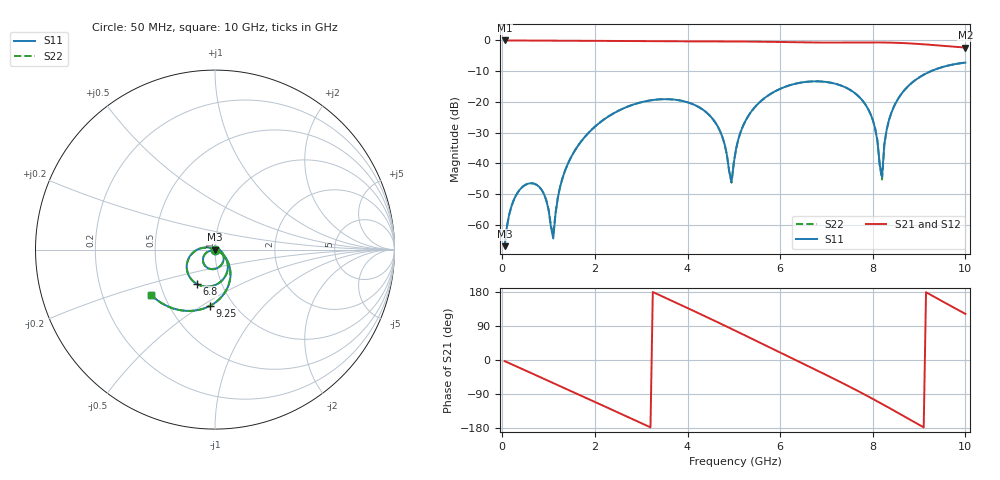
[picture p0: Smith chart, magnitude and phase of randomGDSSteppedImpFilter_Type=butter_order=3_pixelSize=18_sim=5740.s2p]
! freq	dB(S11)	phase(S11)	dB(S12)	phase(S12)
!  dB(S21)	phase(S21)	dB(S22)	phase(S22)
!S-par simulation data
#  GHz  S  DB  R 50
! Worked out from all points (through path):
!   200 points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, 50 MHz to 10 GHz, reference 50 ohm
!   highest |S21| = 0.00 dB at 50 MHz (marker M1); lowest = -2.3 dB at 10 GHz (marker M2)
!   group delay of S21, straight-line fit = 165 ps
!   lowest |S11| = -66.9 dB at 50 MHz (marker M3), VSWR 1.00, Z = 50 - j0.0436 ohm
!   |S11| at or under -10 dB: start of sweep to 9.256 GHz
!   |S22| runs from -66.9 to -7.2 dB; largest |S21 - S12| = 0
!   S11 on the Smith chart (normalised r, x): 50 MHz: 1.00, -0.00; 6.8 GHz: 0.76, -0.31; 9.25 GHz: 0.78, -0.54; 10 GHz: 0.43, -0.26
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0.05  -66.92 -75.4  -0.00 -2.8  -0.00 -2.8  -66.90 -75.5
0.25  -51.80 -93.6  -0.02 -13.9  -0.02 -13.9  -51.80 -93.7
0.6  -46.46 -119.9  -0.04 -33.2  -0.04 -33.2  -46.46 -120.2
0.9  -49.98 -143.0  -0.06 -49.8  -0.06 -49.8  -49.97 -144.2
1.1  -64.41 96.1  -0.07 -60.8  -0.07 -60.8  -63.26 99.1
1.3  -44.81 26.7  -0.08 -71.9  -0.08 -71.9  -44.77 27.9
1.75  -31.95 -3.7  -0.11 -96.8  -0.11 -96.8  -31.95 -3.2
3.4  -19.16 -97.6  -0.29 171.0  -0.29 171.0  -19.15 -97.4
4.5  -24.76 -157.1  -0.32 108.4  -0.32 108.4  -24.76 -157.0
4.75  -31.28 -166.2  -0.32 93.9  -0.32 93.9  -31.29 -166.3
4.95  -46.04 -78.6  -0.33 82.1  -0.33 82.1  -46.26 -78.0
5.05  -35.11 -29.0  -0.34 76.2  -0.34 76.2  -35.13 -28.3
5.6  -19.52 -48.3  -0.41 43.5  -0.41 43.5  -19.52 -48.0
6.7  -13.31 -111.8  -0.67 -21.9  -0.67 -21.9  -13.31 -111.5
6.8  -13.30 -117.7  -0.68 -27.8  -0.68 -27.8  -13.30 -117.4
7.85  -21.05 177.0  -0.64 -92.8  -0.64 -92.8  -21.05 177.9
8.05  -28.54 161.8  -0.64 -105.9  -0.64 -105.9  -28.55 163.9
8.2  -44.48 3.4  -0.66 -115.9  -0.66 -115.9  -45.22 -10.4
8.25  -33.82 -20.7  -0.67 -119.3  -0.67 -119.3  -33.87 -24.4
8.35  -25.89 -31.7  -0.70 -126.1  -0.70 -126.1  -25.90 -33.1
9.25  -10.04 -95.1  -1.43 171.9  -1.43 171.9  -10.03 -95.2
10  -7.20 -144.7  -2.32 121.6  -2.32 121.6  -7.19 -144.7
